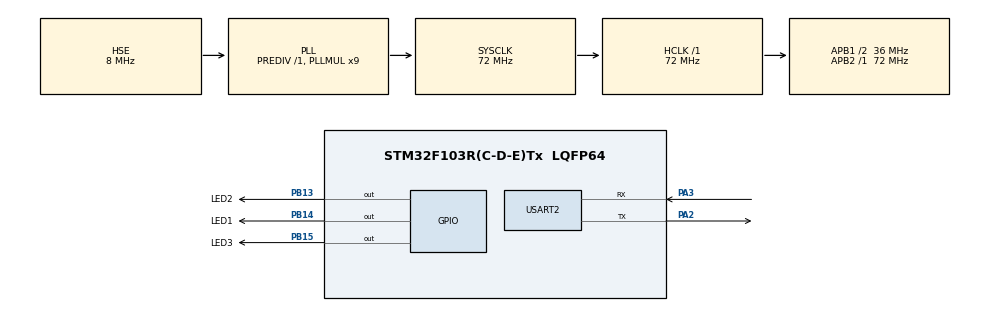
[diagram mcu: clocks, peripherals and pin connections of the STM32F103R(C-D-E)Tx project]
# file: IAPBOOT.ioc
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Mcu.Family=STM32F1
Mcu.Name=STM32F103R(C-D-E)Tx
Mcu.Package=LQFP64
NVIC.PriorityGroup=NVIC_PRIORITYGROUP_4
NVIC.USART2_IRQn=true\:0\:0\:false\:false\:true\:true\:true
PA13.Mode=Serial_Wire
PA13.Signal=SYS_JTMS-SWDIO
PA14.Mode=Serial_Wire
PA14.Signal=SYS_JTCK-SWCLK
PA2.Mode=Asynchronous
PA2.Signal=USART2_TX
PA3.Mode=Asynchronous
PA3.Signal=USART2_RX
PB13.GPIO_Label=LED2
PB13.GPIO_PuPd=GPIO_PULLUP
PB13.Signal=GPIO_Output
PB14.GPIO_Label=LED1
PB14.GPIO_PuPd=GPIO_PULLUP
PB14.Signal=GPIO_Output
PB15.GPIO_Label=LED3
PB15.GPIO_PuPd=GPIO_PULLUP
PB15.Signal=GPIO_Output
PD0-OSC_IN.Mode=HSE-External-Oscillator
PD0-OSC_IN.Signal=RCC_OSC_IN
PD1-OSC_OUT.Mode=HSE-External-Oscillator
PD1-OSC_OUT.Signal=RCC_OSC_OUT
ProjectManager.HeapSize=0x200
ProjectManager.StackSize=0x400
ProjectManager.TargetToolchain=MDK-ARM V5.27
RCC.AHBFreq_Value=72000000
RCC.APB1CLKDivider=RCC_HCLK_DIV2
RCC.APB1Freq_Value=36000000
RCC.APB1TimFreq_Value=72000000
RCC.APB2Freq_Value=72000000
RCC.APB2TimFreq_Value=72000000
RCC.HCLKFreq_Value=72000000
RCC.PLLMUL=RCC_PLL_MUL9
RCC.PLLSourceVirtual=RCC_PLLSOURCE_HSE
RCC.SYSCLKFreq_VALUE=72000000
RCC.SYSCLKSource=RCC_SYSCLKSOURCE_PLLCLK
RCC.USBFreq_Value=72000000
USART2.VirtualMode=VM_ASYNC
board=custom

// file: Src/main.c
/* USER CODE BEGIN Header */
/**
  ******************************************************************************
  * @file           : main.c
  * @brief          : Main program body
  ******************************************************************************
  * @attention
  *
  * <h2><center>&copy; Copyright (c) 2020 STMicroelectronics.
  * All rights reserved.</center></h2>
  *
  * This software component is licensed by ST under BSD 3-Clause license,
  * the "License"; You may not use this file except in compliance with the
  * License. You may obtain a copy of the License at:
  *                        opensource.org/licenses/BSD-3-Clause
  *
  ******************************************************************************
  */
/* USER CODE END Header */

#include "main.h"
#include "usart.h"
#include "gpio.h"

void SystemClock_Config(void);

/* USER CODE BEGIN 0 */
// 函数指针类型定义

typedef void(*pFunction)(void);

#define IAP_ADDRESS			0x8000000		// 16 KB
#define APP_ADDRESS			0x8004000		// 48 KB

uint32_t jumpAddress;
pFunction Jump_To_App;

/* USER CODE END 0 */

int main(void)
{

  /* MCU Configuration--------------------------------------------------------*/

  /* Reset of all peripherals, Initializes the Flash interface and the Systick. */
  HAL_Init();

  /* Configure the system clock */
  SystemClock_Config();

  /* Initialize all configured peripherals */
  MX_GPIO_Init();
  MX_USART2_UART_Init();
  /* USER CODE BEGIN 2 */

	HAL_GPIO_WritePin(LED1_GPIO_Port, LED1_Pin, GPIO_PIN_RESET);
	HAL_GPIO_WritePin(LED2_GPIO_Port, LED2_Pin, GPIO_PIN_RESET);
	HAL_GPIO_WritePin(LED3_GPIO_Port, LED3_Pin, GPIO_PIN_RESET);

	uint8_t TxData[22]= "Hi, I'm from BOOT.\r\n";
	HAL_UART_Transmit(&huart2, TxData, 22, 1000);

	HAL_Delay(1000);

	// FLASH_Unlock();

	// if(满足更新条件)
	// {
		// 从通信管道接收数据
		// 写入APP对应的Flash
	// }

	// 通过堆栈地址是否合法来检测该Flash区域是否已有APP程序
	// APP程序首地址存放的就是堆栈地址，可查看中断向量表：
	// DCD     __initial_sp               ; Top of Stack
	// 堆栈地址指向RAM，RAM的起始地址一般设置为0x20000000（内部SRAM）
	// 一般情况下堆栈地址（内部SRAM）合法范围是0x20000000~0x2001FFFF，大小为128K

	if(((*(__IO uint32_t*)APP_ADDRESS) & 0x2FFE0000) == 0x20000000)
	{
		// 堆栈地址往后移一个字是复位中断的中断函数的地址，可查看中断向量表：
		// DCD     Reset_Handler              ; Reset Handler
		jumpAddress = *(__IO uint32_t*)(APP_ADDRESS + 4);
		// 将中断函数地址转为函数指针
		Jump_To_App = (pFunction)jumpAddress;
		// 设置主堆栈地址为APP程序堆栈地址
		__set_MSP(*(__IO uint32_t*)APP_ADDRESS);
		// APP中断向量表复位异常处理
		Jump_To_App();
	}

  /* USER CODE END 2 */

  /* Infinite loop */
  while (1)
  {

  }
}

void SystemClock_Config(void)
{
  RCC_OscInitTypeDef RCC_OscInitStruct = {0};
  RCC_ClkInitTypeDef RCC_ClkInitStruct = {0};

  /** Initializes the CPU, AHB and APB busses clocks
  */
  RCC_OscInitStruct.OscillatorType = RCC_OSCILLATORTYPE_HSE;
  RCC_OscInitStruct.HSEState = RCC_HSE_ON;
  RCC_OscInitStruct.HSEPredivValue = RCC_HSE_PREDIV_DIV1;
  RCC_OscInitStruct.HSIState = RCC_HSI_ON;
  RCC_OscInitStruct.PLL.PLLState = RCC_PLL_ON;
  RCC_OscInitStruct.PLL.PLLSource = RCC_PLLSOURCE_HSE;
  RCC_OscInitStruct.PLL.PLLMUL = RCC_PLL_MUL9;
  if (HAL_RCC_OscConfig(&RCC_OscInitStruct) != HAL_OK)
  {
    Error_Handler();
  }
  /** Initializes the CPU, AHB and APB busses clocks
  */
  RCC_ClkInitStruct.ClockType = RCC_CLOCKTYPE_HCLK|RCC_CLOCKTYPE_SYSCLK
                              |RCC_CLOCKTYPE_PCLK1|RCC_CLOCKTYPE_PCLK2;
  RCC_ClkInitStruct.SYSCLKSource = RCC_SYSCLKSOURCE_PLLCLK;
  RCC_ClkInitStruct.AHBCLKDivider = RCC_SYSCLK_DIV1;
  RCC_ClkInitStruct.APB1CLKDivider = RCC_HCLK_DIV2;
  RCC_ClkInitStruct.APB2CLKDivider = RCC_HCLK_DIV1;

  if (HAL_RCC_ClockConfig(&RCC_ClkInitStruct, FLASH_LATENCY_2) != HAL_OK)
  {
    Error_Handler();
  }
}

void Error_Handler(void)
{
}

/************************ (C) COPYRIGHT STMicroelectronics *****END OF FILE****/
